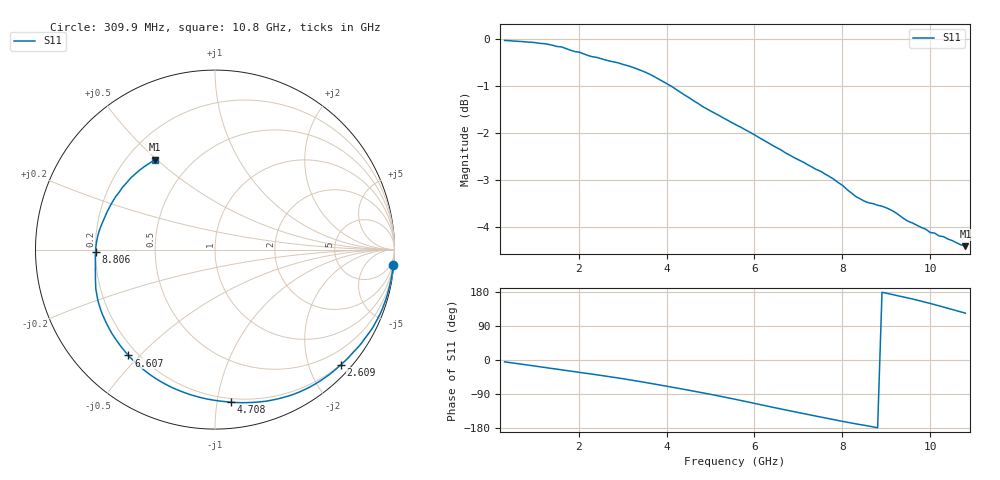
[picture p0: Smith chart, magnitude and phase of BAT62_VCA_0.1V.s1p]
! Infineon Technologies  Discrete & RF Semiconductors
! BAT62
! VCA = 0.1 V
! One-Port S-Parameters
# Hz  S  MA  R  50
!f  S11
!Hz  Mag  Ang
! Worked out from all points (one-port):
!   106 points, 309.9 MHz to 10.8 GHz, reference 50 ohm
!   lowest |S11| = -4.4 dB at 10.8 GHz (marker M1), VSWR 4.02, Z = 15.7 + j24.7 ohm
!   |S11| at or under -10 dB: nowhere
!   S11 on the Smith chart (normalised r, x): 309.9 MHz: 1, -23; 2.609 GHz: 0.19, -2.56; 4.708 GHz: 0.17, -1.09; 6.607 GHz: 0.16, -0.46; 8.806 GHz: 0.20, -0.01; 10.8 GHz: 0.31, +0.49
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3.0985e8  0.9971 -4.9
1.0095e9  0.9917 -16.2
1.30935e9  0.9875 -21.1
1.70915e9  0.9775 -27.7
2.009e9  0.9688 -32.5
2.6087e9  0.9505 -42.5
3.0085e9  0.9401 -49.5
3.30835e9  0.9305 -55.2
3.70815e9  0.9131 -63.2
4.10795e9  0.8911 -71.5
4.30785e9  0.8786 -75.6
4.70765e9  0.8548 -84.2
5.2074e9  0.8288 -95.3
5.6072e9  0.8094 -104.8
6.10695e9  0.7857 -117.1
6.6067e9  0.7622 -129.3
6.90655e9  0.7478 -136.4
7.2064e9  0.7354 -143.5
7.6062e9  0.7185 -152.8
8.006e9  0.6988 -161.9
8.2059e9  0.686 -166.3
8.8056e9  0.6655 -178.9
9.10545e9  0.6579 173.6
9.50525e9  0.6397 163.4
9.8051e9  0.63 155.1
1.010495e10  0.6215 146.0
1.04048e10  0.6125 136.4
1.08046e10  0.6019 123.6
